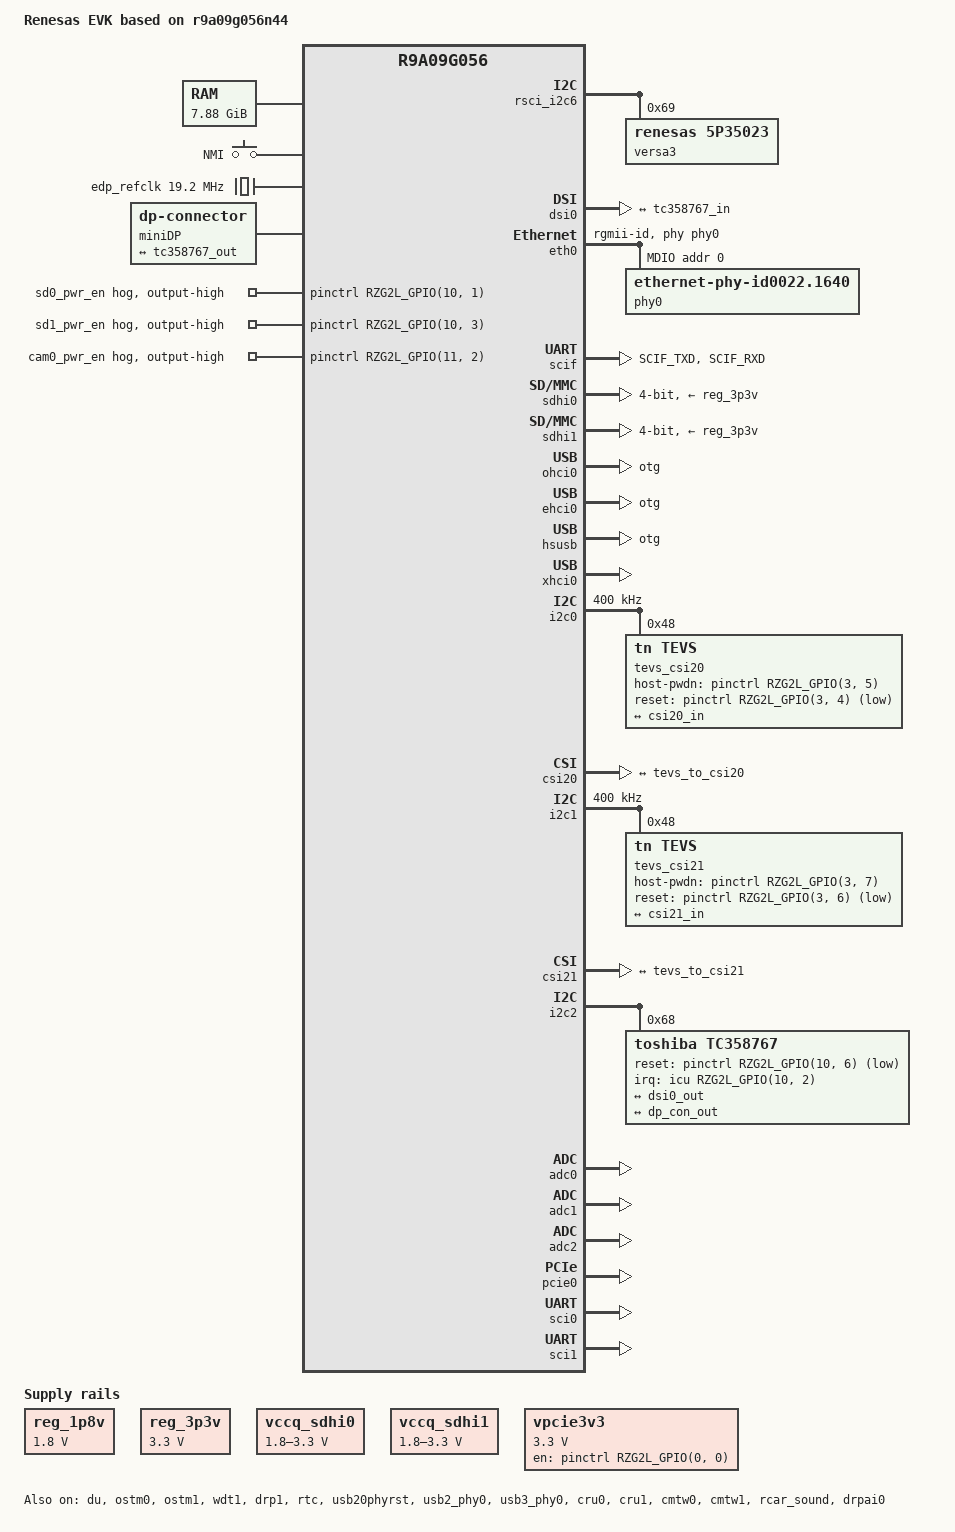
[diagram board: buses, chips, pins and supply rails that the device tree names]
// SPDX-License-Identifier: (GPL-2.0-only OR BSD-2-Clause)
/*
 * Device Tree Source for the RZ/V2N EVK Alpha board
 *
 * Copyright (C) 2024 Renesas Electronics Corp.
 */

/dts-v1/;
#include "r9a09g056.dtsi"
#include <dt-bindings/pinctrl/rzg2l-pinctrl.h>
#include <dt-bindings/gpio/gpio.h>

/ {
	model = "Renesas EVK based on r9a09g056n44";
	compatible = "renesas,r9a09g056n44-evk", "renesas,r9a09g056n44", "renesas,r9a09g056";

	aliases {
		i2c0 = &i2c0;
		i2c1 = &i2c1;
		i2c3 = &i2c3;
		serial0 = &scif;
		serial1 = &sci0;
		serial2 = &sci1;
		mmc0 = &sdhi0;
		mmc1 = &sdhi1;
		ethernet0 = &eth0;
		ethernet1 = &eth1;
	};

	chosen {
		bootargs = "ignore_loglevel";
		stdout-path = "serial0:115200n8";
	};

	memory@48000000 {
		device_type = "memory";
		/* first 128MB is reserved for secure area. */
		reg = <0x0 0x48000000 0x1 0xF8000000>;
	};

	reserved-memory {
		#address-cells = <2>;
		#size-cells = <2>;
		ranges;

		global_cma: linux,cma@58000000 {
			compatible = "shared-dma-pool";
			linux,cma-default;
			reusable;
			reg = <0x0 0x58000000 0x0 0x28000000>;
		};

		mmp_reserved: linux,multimedia {
			compatible = "shared-dma-pool";
			reusable;
			reg = <0x00000000 0x80000000 0x0 0x10000000>;
		};

		isp_reserved: frame_buffer@90000000 {
			compatible = "shared-dma-pool";
			reusable;
			reg = <0x0 0x90000000 0x0 0x18000000>;
		};

		opencva_reserved: OpenCVA@A8000000 {
			reusable;
			reg = <0x0 0xA8000000 0x0 0x7CFF000>;
		};

		shared_drp_reserved: SharedDRP@AFCFF000 {
			reusable;
			reg = <0x0 0xAFCFF000 0x0 0x00001000>;
		};

		drp_codec: DRP-Codec@AFD00000 {
			reusable;
			reg = <0x0 0xAFD00000 0x0 0x300000>;
		};

		image_buf0: image_buf@B0000000 {
			compatible = "shared-dma-pool";
			reusable;
			reg = <0x0 0xB0000000 0x0 0x4000000>;
			label = "image_buf0";
		};

		cru_func: cru_buffer@B4000000 {
			compatible = "shared-dma-pool";
			reusable;
			reg = <0x0 0xB4000000 0x0 0x16400000>;
		};

		drp_reserved: DRP-AI@D0000000 {
			reusable;
			reg = <0x0 0xD0000000 0x0 0x20000000>;
		};
	};

	mmngr {
		compatible = "renesas,mmngr";
		memory-region = <&mmp_reserved>;
	};

	mmngrbuf {
		compatible = "renesas,mmngrbuf";
	};

	vspm_if {
		compatible = "renesas,vspm_if";
	};

       x1_clk: x1-clock {
               compatible = "fixed-clock";
               #clock-cells = <0>;
               clock-frequency = <24000000>;
       };

	reg_1p8v: regulator0 {
		compatible = "regulator-fixed";

		regulator-name = "fixed-1.8V";
		regulator-min-microvolt = <1800000>;
		regulator-max-microvolt = <1800000>;
		regulator-boot-on;
		regulator-always-on;
	};

	reg_3p3v: regulator1 {
		compatible = "regulator-fixed";

		regulator-name = "fixed-3.3V";
		regulator-min-microvolt = <3300000>;
		regulator-max-microvolt = <3300000>;
		regulator-boot-on;
		regulator-always-on;
	};

	vccq_sdhi0: regulator-vccq-sdhi0 {
		compatible = "regulator-gpio";

		regulator-name = "SDHI0 VccQ";
		regulator-min-microvolt = <1800000>;
		regulator-max-microvolt = <3300000>;

		gpios = <&pinctrl RZG2L_GPIO(10, 0) GPIO_ACTIVE_HIGH>;

		gpios-states = <1>;
		states = <3300000 0 1800000 1>;
	};

	vccq_sdhi1: regulator-vccq-sdhi1 {
		compatible = "regulator-gpio";

		regulator-name = "SDHI1 VccQ";
		regulator-min-microvolt = <1800000>;
		regulator-max-microvolt = <3300000>;

		gpios = <&pinctrl RZG2L_GPIO(10, 2) GPIO_ACTIVE_HIGH>;

		gpios-states = <1>;
		states = <3300000 0 1800000 1>;
	};

	gpio-keys {
		compatible = "gpio-keys";
		pinctrl-names = "default";

		nmi {
			interrupt-parent = <&icu>;
			interrupts = <0 IRQ_TYPE_EDGE_FALLING>;
			linux,code = <4>;
			label = "NMI";
			wakeup-source;
		};
	};

	edp_refclk: edp_refclk {
		compatible = "fixed-clock";
		#clock-cells = <0>;
		clock-frequency = <19200000>;
	};
	
	dp-out {
		compatible = "dp-connector";
		label = "miniDP";

		port {
			dp_con_out: endpoint {
				remote-endpoint = <&tc358767_out>;
			};
		};
	};
	
	soc: soc {
		rsci_i2c6: i2c@12802400 {
			compatible = "renesas,r9a09g056-rz-rsci",
				     "renesas,rsci-i2c";
			reg = <0 0x12802400 0 0x400>;
			interrupts = <GIC_SPI 150 IRQ_TYPE_LEVEL_HIGH>,
					<GIC_SPI 151 IRQ_TYPE_EDGE_RISING>,
					<GIC_SPI 152 IRQ_TYPE_EDGE_RISING>,
					<GIC_SPI 153 IRQ_TYPE_LEVEL_HIGH>;
			interrupt-names = "eri", "rxi", "txi", "tei";
			clocks = <&cpg CPG_MOD 0x7b>, <&cpg CPG_MOD 0x7c>;
			clock-names = "fck", "tclk";
			power-domains = <&cpg>;
			resets = <&cpg 0x8d>, <&cpg 0x8e>;
			reset-names = "presetn", "tresetn";
			status = "disabled";
		};
	};
	
	vpcie3v3: regulator-vpcie3v3 {
	        compatible = "regulator-fixed";
	        regulator-name = "vpcie3v3";
	        regulator-min-microvolt = <3300000>;
	        regulator-max-microvolt = <3300000>;

	        gpios = <&pinctrl RZG2L_GPIO(0, 0) GPIO_ACTIVE_HIGH>;  /* PWR_EN */
	        enable-active-high;
	        regulator-boot-on;
	        regulator-always-on;
	};
};

&du {
	status = "okay";
};

&dsi0 {
	status = "okay";

	ports {
		port@1 {
			dsi0_out: endpoint {
				remote-endpoint = <&tc358767_in>;
				data-lanes = <0 1 2 3>;
			};
		};
	};
};

&eth0 {
	phy-handle = <&phy0>;
	phy-mode = "rgmii-id";
	status = "okay";

	mdio {
		#address-cells = <1>;
		#size-cells = <0>;
		phy0: ethernet-phy@0 {
			compatible = "ethernet-phy-id0022.1640",
				     "ethernet-phy-ieee802.3-c22";
			reg = <0>;
			rxc-skew-psec = <1400>;
			txc-skew-psec = <1400>;
			rxdv-skew-psec = <0>;
			txdv-skew-psec = <0>;
			rxd0-skew-psec = <0>;
			rxd1-skew-psec = <0>;
			rxd2-skew-psec = <0>;
			rxd3-skew-psec = <0>;
			txd0-skew-psec = <0>;
			txd1-skew-psec = <0>;
			txd2-skew-psec = <0>;
			txd3-skew-psec = <0>;
		};
	};
};

&audio_clka {
	clock-frequency = <22579200>;
};

&audio_clkb {
	clock-frequency = <24576000>;
};

&audio_clkc {
	clock-frequency = <22579200>;
};

&pinctrl {
	i2c3_pins: i2c3 {
		pinmux = <RZG2L_PORT_PINMUX(3, 6, 1)>, /* I2C3_SDA */
			 <RZG2L_PORT_PINMUX(3, 7, 1)>; /* I2C3_SCL */
	};

	scif0_pins: scif0 {
		pins =  "SCIF_TXD", "SCIF_RXD";
		renesas,output-impedance = <1>;
	};

	sd0_pwr_en {
		gpio-hog;
		gpios = <RZG2L_GPIO(10, 1) GPIO_ACTIVE_HIGH>;
		output-high;
		line-name = "sd0_pwr_en";
	};

	sd1_pwr_en {
		gpio-hog;
		gpios = <RZG2L_GPIO(10, 3) GPIO_ACTIVE_HIGH>;
		output-high;
		line-name = "sd1_pwr_en";
	};

	/* Support pinctrl for SD function of SDHI0 */
	sdhi0_pins: sd0 {
		sd0_mux {
			pinmux = <RZG2L_PORT_PINMUX(10, 5, 15)>; /* SD0_CD */
		};
	};

	/* Support pinctrl for SD function of SDHI1 */
	sdhi1_pins: sd1 {
		sd1_mux {
			pinmux = <RZG2L_PORT_PINMUX(9, 4, 14)>; /* SD1_CD */
		};
	};

	usb20_pins: usb20 {
		pinmux = <RZG2L_PORT_PINMUX(9, 5, 14)>, /* VBUS */
			 <RZG2L_PORT_PINMUX(9, 6, 14)>; /* OVC */
	};

	i2c0_pins: i2c0 {
		pinmux = <RZG2L_PORT_PINMUX(3, 0, 1)>, /* I2C0_SDA */
			 <RZG2L_PORT_PINMUX(3, 1, 1)>; /* I2C0_SCL */
	};

	i2c1_pins: i2c1 {
		pinmux = <RZG2L_PORT_PINMUX(3, 2, 1)>, /* I2C1_SDA */
			 <RZG2L_PORT_PINMUX(3, 3, 1)>; /* I2C1_SCL */
	};

	i2c2_pins: i2c2 {
		pinmux = <RZG2L_PORT_PINMUX(2, 0, 4)>, /* I2C2_SDA */
			 <RZG2L_PORT_PINMUX(2, 1, 4)>; /* I2C2_SCL */
	};

       rsci_i2c6_pins: rsci_i2c6 {
               pinmux = <RZG2L_PORT_PINMUX(9, 0, 2)>, /* SCI8_RXD_MISO_SCL */
                        <RZG2L_PORT_PINMUX(9, 1, 2)>; /* SCI8_TXD_MOSI_SDA */
                        drive-open-drain = <1>;
       };

	spi2_pins: spi2 {
		pinmux = <RZG2L_PORT_PINMUX(11, 3, 5)>, /* MISO */
			 <RZG2L_PORT_PINMUX(11, 4, 5)>, /* MOSI */
			 <RZG2L_PORT_PINMUX(10, 7, 5)>, /* SSL */
			 <RZG2L_PORT_PINMUX(11, 5, 5)>; /* RSPCK */
	};

	/* cam0_pwr_en is used by Google Coral Camera from CSI20 and CSI21 */
	cam0_pwr_en {
		gpio-hog;
		gpios = <RZG2L_GPIO(11, 2) GPIO_ACTIVE_HIGH>;
		output-high;
		line-name = "cam0_pwr_en";
	};

	sound_clk_pins: sound_clk {
		pinmux = <RZG2L_PORT_PINMUX(1, 0, 7)>, /* AUDIO_CLKB */
			 <RZG2L_PORT_PINMUX(1, 1, 7)>, /* AUDIO_CLKC */
			 <RZG2L_PORT_PINMUX(9, 7, 8)>; /* AUDIO_CLKOUT */
	};

	sound_pins: sound {
		pinmux = <RZG2L_PORT_PINMUX(1, 2, 7)>, /* SSI3_SCK */
			 <RZG2L_PORT_PINMUX(1, 3, 7)>, /* SSI3_WS */
			 <RZG2L_PORT_PINMUX(0, 4, 7)>, /* SSI3_SDATA */
			 <RZG2L_PORT_PINMUX(1, 5, 7)>; /* SSI4_SDATA */
	};

	sci0_pins: sci0 {
		pinmux = <RZG2L_PORT_PINMUX(5, 0, 1)>, /* SCI0_TXD_MOSI_SDA */
			<RZG2L_PORT_PINMUX(5, 1, 1)>; /* SCI0_RXD_MISO_SCL */
		bias-pull-up;
	};

	sci1_pins: sci1 {
		pinmux = <RZG2L_PORT_PINMUX(5, 2, 1)>, /* SCI1_TXD_MOSI_SDA */
			<RZG2L_PORT_PINMUX(5, 3, 1)>; /* SCI1_RXD_MISO_SCL */
		bias-pull-up;
	};
};

&qextal_clk {
	clock-frequency = <24000000>;
};

&scif {
	pinctrl-0 = <&scif0_pins>;
	pinctrl-names = "default";

	status = "okay";
};

&ostm0 {
	status = "okay";
};

&ostm1 {
	status = "okay";
};

&wdt1 {
	status = "okay";
};

&sdhi0 {
	pinctrl-0 = <&sdhi0_pins>;
	pinctrl-names = "default";

	vmmc-supply = <&reg_3p3v>;
	vqmmc-supply = <&vccq_sdhi0>;

	bus-width = <4>;
	sd-uhs-sdr50;
	sd-uhs-sdr104;
	status = "okay";
};

&sdhi1 {
	pinctrl-0 = <&sdhi1_pins>;
	pinctrl-names = "default";

	vmmc-supply = <&reg_3p3v>;
	vqmmc-supply = <&vccq_sdhi1>;
	bus-width = <4>;
	sd-uhs-sdr50;
	sd-uhs-sdr104;
	status = "okay";
};

&drp1 {
    memory-region = <&drp_codec>;
    memory-oca-region = <&opencva_reserved>;
    memory-shared-for-drpai-ext-cont = <&shared_drp_reserved>;
    status = "okay";
};

&rtc {
        status = "okay";
};

&ohci0 {
	memory-region = <&global_cma>;
	dr_mode = "otg";
	status = "okay";
};

&ehci0 {
	memory-region = <&global_cma>;
	dr_mode = "otg";
	status = "okay";
};

&hsusb {
	dr_mode = "otg";
	status = "okay";
};

&usb20phyrst {
	status = "okay";
};

&usb2_phy0 {
	pinctrl-0 = <&usb20_pins>;
	pinctrl-names = "default";
	status = "okay";
};

&usb3_phy0 {
	status = "okay";
};

&xhci0 {
	memory-region = <&global_cma>;
	status = "okay";
};

&i2c0 {
	pinctrl-0 = <&i2c0_pins>;
	pinctrl-names = "default";

	status = "okay";
        clock-frequency = <400000>;
        
        tevs_csi20: tevs_csi20@48 {
		compatible = "tn,tevs";
		reg = <0x48>;

		continuous-clock = <0>;
		data-lanes = <2>;
		data-frequency = <800>;
		//hw-reset; // keep the camera off, when unused
		
		host-pwdn-gpios = <&pinctrl RZG2L_GPIO(3, 5) GPIO_ACTIVE_HIGH>;
		reset-gpios = <&pinctrl RZG2L_GPIO(3, 4) GPIO_ACTIVE_LOW>;

		port {
			tevs_to_csi20: endpoint {
				clock-lanes = <0>;
				data-lanes = <1 2>;
				remote-endpoint = <&csi20_in>;
			};
		};
	}; 
};

&cru0 {
	status = "okay";
};

&csi20 {
	status = "okay";

	ports {
		port {
			csi20_in: endpoint {
				clock-lanes = <0>;
				data-lanes = <1 2>;
				remote-endpoint = <&tevs_to_csi20>;
			};
		};
	};
};

&i2c1 {
	pinctrl-0 = <&i2c1_pins>;
	pinctrl-names = "default";

        status = "okay";
        clock-frequency = <400000>;

        tevs_csi21: tevs_csi21@48 {
		compatible = "tn,tevs";
		reg = <0x48>;

		continuous-clock = <0>;
		data-lanes = <2>;
		data-frequency = <800>;
		//hw-reset; // keep the camera off, when unused
		
		host-pwdn-gpios = <&pinctrl RZG2L_GPIO(3, 7) GPIO_ACTIVE_HIGH>;
		reset-gpios = <&pinctrl RZG2L_GPIO(3, 6) GPIO_ACTIVE_LOW>;

		port {
			tevs_to_csi21: endpoint {
				clock-lanes = <0>;
				data-lanes = <1 2>;
				remote-endpoint = <&csi21_in>;
			};
		};
	};
};

&cru1 {
	status = "okay";
};

&csi21 {
	status = "okay";

	ports {
		port {
			csi21_in: endpoint {
				clock-lanes = <0>;
				data-lanes = <1 2>;
				remote-endpoint = <&tevs_to_csi21>;
			};
		};
	};
};

&i2c2 {
	pinctrl-0 = <&i2c2_pins>;
	pinctrl-names = "default";

	status = "okay";

	tc358767: dp-bridge@68 {
		compatible = "toshiba,tc358767";
		reg = <0x68>;
		clock-names = "ref";
		clocks = <&edp_refclk>;
		toshiba,hpd-pin = <0>;
		interrupt-parent = <&icu>;
		interrupts = <RZG2L_GPIO(10, 2) IRQ_TYPE_LEVEL_LOW>;
		reset-gpios = <&pinctrl RZG2L_GPIO(10, 6) GPIO_ACTIVE_LOW>;

		ports {
			#address-cells = <1>;
			#size-cells = <0>;

			port@0 {
				reg = <0>;
				tc358767_in: endpoint {
					remote-endpoint = <&dsi0_out>;
					data-lanes = <0 1 2 3>;
				};
			};

			port@2 {
				reg = <2>;
				tc358767_out: endpoint {
					remote-endpoint = <&dp_con_out>;
				};
			};
		};
	};
};

&rsci_i2c6 {
       pinctrl-0 = <&rsci_i2c6_pins>;
       pinctrl-names = "default";

       status = "okay";
       
       #address-cells = <1>;
       #size-cells = <0>;

       versa3: versa3@69 {
               compatible = "renesas,5p35023";
               reg = <0x69>;
               #clock-cells = <1>;
               clocks = <&x1_clk>;
               clock-names = "x1";
               assigned-clocks = <&versa3 5>,
                                 <&versa3 4>,
                                 <&versa3 3>,
                                 <&versa3 2>,
                                 <&versa3 1>,
                                 <&versa3 0>;
               assigned-clock-rates =  <100000000>, <100000000>,
                                       <22579200>, <32768>,
                                       <24576000>, <24000000>;
               clock-divider-read-only = <1>, <1>, <1>, <1>, <1>;
               clock-flags = <2176>, <2176>, <2176>, <2052>, <2176>, <2048>;
       };
};

&adc0 {
	status = "okay";
};

&adc1 {
	status = "okay";
};

&adc2 {
	status = "okay";
};

&cmtw0 {
	status = "okay";
};

&cmtw1 {
	status = "okay";
};

&rcar_sound {
	pinctrl-0 = <&sound_clk_pins &sound_pins>;
	pinctrl-names = "default";

	status = "okay";

	/* audio_clkout */
	#clock-cells = <0>;
	clock-frequency = <11289600>;

	/* Multi DAI */
	#sound-dai-cells = <1>;

	rcar_sound,dai {
		dai0 {
			playback = <&ssi3>;
			capture  = <&ssi4 &src0 &dvc0>;
		};
	};
};

&ssi4 {
	shared-pin;
};

&pcie0 {
	/* Map all possible DDR as inbound ranges */
	dma-ranges = <0x42000000 0 0x40000000 0 0x40000000 0x2 0x00000000>;

	status = "okay";
	vpcie-supply = <&vpcie3v3>;
};

&sci0 {
        pinctrl-0 = <&sci0_pins>;
        pinctrl-names = "default";
        status = "okay";

};

&sci1 {
        pinctrl-0 = <&sci1_pins>;
        pinctrl-names = "default";
        status = "okay";

};

&drpai0 {
	memory-region = <&drp_reserved>;
	memory-shared-for-drpai-ext-cont = <&shared_drp_reserved>;
	status = "okay";
};
